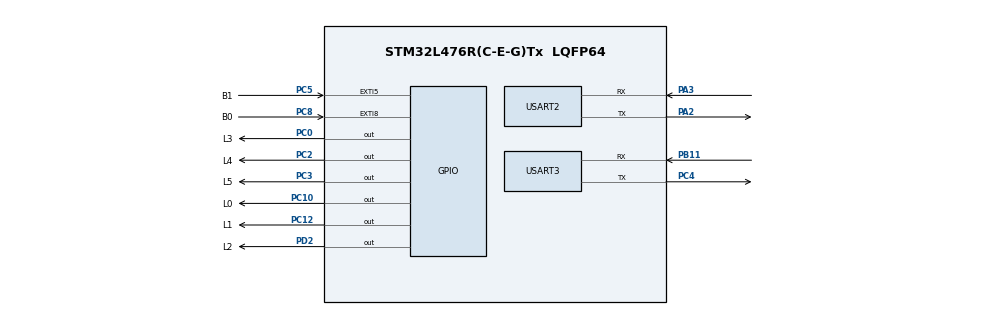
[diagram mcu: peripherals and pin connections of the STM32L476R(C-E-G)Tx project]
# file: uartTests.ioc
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Mcu.Family=STM32L4
Mcu.Name=STM32L476R(C-E-G)Tx
Mcu.Package=LQFP64
NVIC.EXTI9_5_IRQn=true\:2\:0\:true\:false\:true\:true\:true\:true
NVIC.PriorityGroup=NVIC_PRIORITYGROUP_4
NVIC.TIM6_DAC_IRQn=true\:0\:0\:false\:false\:true\:true\:true\:true
NVIC.TIM7_IRQn=true\:0\:0\:false\:false\:true\:true\:true\:true
NVIC.USART2_IRQn=true\:1\:0\:true\:false\:true\:true\:true\:true
NVIC.USART3_IRQn=true\:1\:0\:true\:false\:true\:true\:true\:true
PA13\ (JTMS-SWDIO).Mode=Serial_Wire
PA13\ (JTMS-SWDIO).Signal=SYS_JTMS-SWDIO
PA14\ (JTCK-SWCLK).Mode=Serial_Wire
PA14\ (JTCK-SWCLK).Signal=SYS_JTCK-SWCLK
PA2.Mode=Asynchronous
PA2.Signal=USART2_TX
PA3.Mode=Asynchronous
PA3.Signal=USART2_RX
PB11.Mode=Asynchronous
PB11.Signal=USART3_RX
PC0.GPIO_Label=L3
PC0.Signal=GPIO_Output
PC10.GPIO_Label=L0
PC10.Signal=GPIO_Output
PC12.GPIO_Label=L1
PC12.Signal=GPIO_Output
PC14-OSC32_IN\ (PC14).Mode=LSE-External-Oscillator
PC14-OSC32_IN\ (PC14).Signal=RCC_OSC32_IN
PC15-OSC32_OUT\ (PC15).Mode=LSE-External-Oscillator
PC15-OSC32_OUT\ (PC15).Signal=RCC_OSC32_OUT
PC2.GPIO_Label=L4
PC2.Signal=GPIO_Output
PC3.GPIO_Label=L5
PC3.Signal=GPIO_Output
PC4.Mode=Asynchronous
PC4.Signal=USART3_TX
PC5.GPIO_Label=B1
PC5.GPIO_PuPd=GPIO_PULLDOWN
PC5.Signal=GPXTI5
PC8.GPIO_Label=B0
PC8.GPIO_ModeDefaultEXTI=GPIO_MODE_IT_FALLING
PC8.GPIO_PuPd=GPIO_PULLUP
PC8.Signal=GPXTI8
PD2.GPIO_Label=L2
PD2.Signal=GPIO_Output
ProjectManager.HeapSize=0x200
ProjectManager.StackSize=0x400
ProjectManager.TargetToolchain=STM32CubeIDE
RCC.HSE_VALUE=8000000
RCC.HSI_VALUE=16000000
RCC.MSI_VALUE=4000000
RCC.RTCClockSelection=RCC_RTCCLKSOURCE_LSE
RCC.VCOOutputFreq_Value=32000000
TIM6.Period=99
TIM6.Prescaler=39999
TIM7.Period=99
TIM7.Prescaler=39999
USART2.VirtualMode-Asynchronous=VM_ASYNC
USART3.VirtualMode-Asynchronous=VM_ASYNC
VP_RTC_VS_RTC_Activate.Mode=RTC_Enabled
VP_TIM6_VS_ClockSourceINT.Mode=Enable_Timer
VP_TIM7_VS_ClockSourceINT.Mode=Enable_Timer
board=custom

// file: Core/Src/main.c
/* USER CODE BEGIN Header */
/**
  ******************************************************************************
  * @file           : main.c
  * @brief          : Main program body
  ******************************************************************************
  * @attention
  *
  * Copyright (c) 2023 STMicroelectronics.
  * All rights reserved.
  *
  * This software is licensed under terms that can be found in the LICENSE file
  * in the root directory of this software component.
  * If no LICENSE file comes with this software, it is provided AS-IS.
  *
  ******************************************************************************
  */
/* USER CODE END Header */
#include "main.h"
#include "rtc.h"
#include "tim.h"
#include "usart.h"
#include "gpio.h"

/* USER CODE BEGIN Includes */
#include <string.h>
#include <stdio.h>
/* USER CODE END Includes */

void SystemClock_Config(void);

int main(void)
{

  /* MCU Configuration--------------------------------------------------------*/

  /* Reset of all peripherals, Initializes the Flash interface and the Systick. */
  HAL_Init();

  /* Configure the system clock */
  SystemClock_Config();

  /* Initialize all configured peripherals */
  MX_GPIO_Init();
  MX_USART2_UART_Init();
  MX_USART3_UART_Init();
  MX_RTC_Init();
  MX_TIM6_Init();
  MX_TIM7_Init();
  /* USER CODE BEGIN 2 */

  /// uart 2
  uart_InstanceInit(&uart_instance2);
  //HAL_UART_Receive_IT(&huart2, &(uart_instance2.rxReceptionByte), 1);
  //HAL_UART_Transmit_IT(&huart2, (unsigned char*)"Hello World!\r\n", strlen("Hello World!\r\n"));

  /// uart 3
  uart_InstanceInit(&uart_instance3);
  //HAL_UART_Receive_IT(&huart3, &(uart_instance3.rxReceptionByte), 1);
  //HAL_UART_Transmit_IT(&huart3, (unsigned char*)"uart3\r\n", strlen("uart3\r\n"));

  // TIM6
  __HAL_TIM_CLEAR_FLAG(&htim6, TIM_FLAG_UPDATE);
  HAL_TIM_Base_Start_IT(&htim6);

  // TIM7
	__HAL_TIM_CLEAR_FLAG(&htim7, TIM_FLAG_UPDATE);
	HAL_TIM_Base_Start_IT(&htim7);

    __HAL_TIM_SET_COUNTER(&htim6, 0);
    __HAL_TIM_SET_COUNTER(&htim7, 25);

  /// gpio
  gpio_DigOutSetAll(diodesTable, NO_OF_DIODES);
  HAL_Delay(200);
  gpio_DigOutResetAll(diodesTable, NO_OF_DIODES);
  HAL_Delay(120);
  gpio_DigOutSetAll(diodesTable, NO_OF_DIODES);
  HAL_Delay(200);
  gpio_DigOutResetAll(diodesTable, NO_OF_DIODES);
  HAL_Delay(120);
  gpio_DigOutSetAll(diodesTable, NO_OF_DIODES);
  HAL_Delay(200);
  gpio_DigOutResetAll(diodesTable, NO_OF_DIODES);
  HAL_Delay(120);
  gpio_DigOutSet(gpio_GetDiodeMark(), diodesTable);

  // rtc
  HAL_RTC_GetTime(&hrtc, &currentTime, RTC_FORMAT_BIN);
  HAL_RTC_GetDate(&hrtc, &currentDate, RTC_FORMAT_BIN);
  if(currentTime.Hours == 0 && currentTime.Minutes == 0 && currentTime.Seconds == 0)
  {
	currentTime.Hours = 14;
	currentTime.Minutes = 40;
	currentTime.Seconds = 10;
	HAL_RTC_SetTime(&hrtc, &currentTime, RTC_FORMAT_BIN);
  }

  /* USER CODE END 2 */

  /* Infinite loop */
  /* USER CODE BEGIN WHILE */

  while (1)
  {
	HAL_Delay(100);
	uart_WriteTx(&uart_instance2, "main");

	if(gpio_GetDiodeMarkChange() == 1)
	{
		gpio_DigOutResetAll(diodesTable, NO_OF_DIODES);
		gpio_DigOutSet(gpio_GetDiodeMark(), diodesTable);
		gpio_SetDiodeMarkChange(0);
	}
    /* USER CODE END WHILE */

  }
}

void SystemClock_Config(void)
{
  RCC_OscInitTypeDef RCC_OscInitStruct = {0};
  RCC_ClkInitTypeDef RCC_ClkInitStruct = {0};

  /** Configure the main internal regulator output voltage
  */
  if (HAL_PWREx_ControlVoltageScaling(PWR_REGULATOR_VOLTAGE_SCALE1) != HAL_OK)
  {
    Error_Handler();
  }

  /** Configure LSE Drive Capability
  */
  HAL_PWR_EnableBkUpAccess();
  __HAL_RCC_LSEDRIVE_CONFIG(RCC_LSEDRIVE_LOW);

  /** Initializes the RCC Oscillators according to the specified parameters
  * in the RCC_OscInitTypeDef structure.
  */
  RCC_OscInitStruct.OscillatorType = RCC_OSCILLATORTYPE_LSE|RCC_OSCILLATORTYPE_MSI;
  RCC_OscInitStruct.LSEState = RCC_LSE_ON;
  RCC_OscInitStruct.MSIState = RCC_MSI_ON;
  RCC_OscInitStruct.MSICalibrationValue = 0;
  RCC_OscInitStruct.MSIClockRange = RCC_MSIRANGE_6;
  RCC_OscInitStruct.PLL.PLLState = RCC_PLL_NONE;
  if (HAL_RCC_OscConfig(&RCC_OscInitStruct) != HAL_OK)
  {
    Error_Handler();
  }

  /** Initializes the CPU, AHB and APB buses clocks
  */
  RCC_ClkInitStruct.ClockType = RCC_CLOCKTYPE_HCLK|RCC_CLOCKTYPE_SYSCLK
                              |RCC_CLOCKTYPE_PCLK1|RCC_CLOCKTYPE_PCLK2;
  RCC_ClkInitStruct.SYSCLKSource = RCC_SYSCLKSOURCE_MSI;
  RCC_ClkInitStruct.AHBCLKDivider = RCC_SYSCLK_DIV1;
  RCC_ClkInitStruct.APB1CLKDivider = RCC_HCLK_DIV1;
  RCC_ClkInitStruct.APB2CLKDivider = RCC_HCLK_DIV1;

  if (HAL_RCC_ClockConfig(&RCC_ClkInitStruct, FLASH_LATENCY_0) != HAL_OK)
  {
    Error_Handler();
  }

  /** Enable MSI Auto calibration
  */
  HAL_RCCEx_EnableMSIPLLMode();
}

void Error_Handler(void)
{
  __disable_irq();
  while (1)
  {
  }
}
